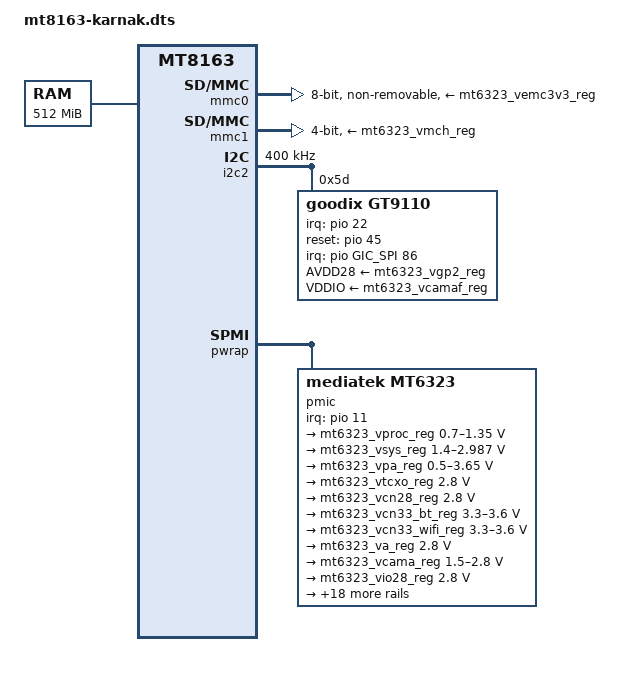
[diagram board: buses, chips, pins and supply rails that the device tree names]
/*
 * Copyright (c) 2014-2015 MediaTek Inc.
 *
 * This program is free software; you can redistribute it and/or modify
 * it under the terms of the GNU General Public License version 2 as
 * published by the Free Software Foundation.
 *
 * This program is distributed in the hope that it will be useful,
 * MERCHANTABILITY or FITNESS FOR A PARTICULAR PURPOSE.  See the
 * GNU General Public License for more details.
 */

/dts-v1/;

#include "mt8163.dtsi"
#include <dt-bindings/gpio/gpio.h>

/ {
	version = "dvt";
	memory@00000000 {
		device_type = "memory";
		reg = <0 0x40000000 0 0x20000000>;
	};
	chosen {
      #address-cells = <2>;
      #size-cells = <2>;
	  ranges;
      stdout-path = "display0";
      framebuffer0: framebuffer@0x98800000 {
        compatible = "simple-framebuffer";
        reg = <0x0 0x98800000 0x0 0xe00000>;
        width = <800>;
        height = <1280>;
        stride = <3200>;
        format = "a8b8g8r8";
		status = "okay";
		};

};
//Needed to make bootloader happy.
};
&mmc0 {
	pinctrl-names = "default", "state_uhs";
	pinctrl-0 = <&mmc0_pins_default>;
	pinctrl-1 = <&mmc0_pins_uhs>;
	status = "okay";
	bus-width = <8>;
	max-frequency = <200000000>;
	cap-mmc-highspeed;
    cap-mmc-hw-reset;
	mmc-hs200-1_8v;
	vmmc-supply = <&mt6323_vemc3v3_reg>;
	vqmmc-supply = <&mt6323_vio18_reg>;
	non-removable;
};
&mmc1 {
	pinctrl-names = "default", "state_uhs";
	pinctrl-0 = <&mmc1_pins_default>;
	pinctrl-1 = <&mmc1_pins_uhs>;
	status = "okay";
	bus-width = <4>;
	latch-ck = <1>;
	max-frequency = <200000000>;
	cap-sd-highspeed;
	sd-uhs-sdr50;
	sd-uhs-sdr104;
	broken-cd;
	vmmc-supply = <&mt6323_vmch_reg>;
	vqmmc-supply = <&mt6323_vmc_reg>;
};
&i2c2 {
	clock-frequency = <400000>;
	pinctrl-names = "default";
	pinctrl-0 = <&i2c2_pins_a>;
	status = "okay";
    gt9110@5d {
        compatible = "goodix,gt9110";
        reg = <0x5d>;
        AVDD28-supply = <&mt6323_vgp2_reg>;
        VDDIO-supply = <&mt6323_vcamaf_reg>;
        interrupt-parent = <&pio>;
        interrupts = <GIC_SPI 86 IRQ_TYPE_LEVEL_LOW>;
        irq-gpios = <&pio 22 0x00>;	
		reset-gpios = <&pio 45 0x00>;	
    };
};
&led6 {
    compatible = "mediatek,lcd-backlight";
    led_mode = <4>;
    data = < >;
    pwm_config = <0 0 0 0 0>;
    default_brightness = < >;
    brightness_normalize_param = < >;
};
&pio{
	disp_pwm0_pins: disp_pwm0_pins {
		pins1 {
			pinmux = <MT8163_PIN_59_DISP_PWM__FUNC_DISP_PWM >;
			output-low;
		};
	};
mmc0_pins_default: mmc0default {
		pins_cmd_dat {
			pinmux = <MT8163_PIN_137_MSDC0_DAT0__FUNC_MSDC0_DAT0>,
				<MT8163_PIN_136_MSDC0_DAT1__FUNC_MSDC0_DAT1>,
				<MT8163_PIN_135_MSDC0_DAT2__FUNC_MSDC0_DAT2>,
				<MT8163_PIN_134_MSDC0_DAT3__FUNC_MSDC0_DAT3>,
				<MT8163_PIN_130_MSDC0_DAT4__FUNC_MSDC0_DAT4>,
				<MT8163_PIN_129_MSDC0_DAT5__FUNC_MSDC0_DAT5>,
				<MT8163_PIN_128_MSDC0_DAT6__FUNC_MSDC0_DAT6>,
				<MT8163_PIN_127_MSDC0_DAT7__FUNC_MSDC0_DAT7>,
				<MT8163_PIN_132_MSDC0_CMD__FUNC_MSDC0_CMD>;
			input-enable;
			bias-pull-up;
		};

		pins_clk {
			pinmux = <MT8163_PIN_133_MSDC0_CLK__FUNC_MSDC0_CLK>;
			bias-pull-down;
		};

		pins_rst {
			pinmux = <MT8163_PIN_131_MSDC0_RSTB__FUNC_MSDC0_RSTB>;
			bias-pull-up;
		};
	};

	mmc0_pins_uhs: mmc0@0{
		pins_cmd_dat {
			pinmux = <MT8163_PIN_137_MSDC0_DAT0__FUNC_MSDC0_DAT0>,
				<MT8163_PIN_136_MSDC0_DAT1__FUNC_MSDC0_DAT1>,
				<MT8163_PIN_135_MSDC0_DAT2__FUNC_MSDC0_DAT2>,
				<MT8163_PIN_134_MSDC0_DAT3__FUNC_MSDC0_DAT3>,
				<MT8163_PIN_130_MSDC0_DAT4__FUNC_MSDC0_DAT4>,
				<MT8163_PIN_129_MSDC0_DAT5__FUNC_MSDC0_DAT5>,
				<MT8163_PIN_128_MSDC0_DAT6__FUNC_MSDC0_DAT6>,
				<MT8163_PIN_127_MSDC0_DAT7__FUNC_MSDC0_DAT7>,
				<MT8163_PIN_132_MSDC0_CMD__FUNC_MSDC0_CMD>;
			input-enable;
			drive-strength = <MTK_DRIVE_6mA>;
			bias-pull-up = <MTK_PUPD_SET_R1R0_01>;
		};

		pins_clk {
			pinmux = <MT8163_PIN_133_MSDC0_CLK__FUNC_MSDC0_CLK>;
			drive-strength = <MTK_DRIVE_6mA>;
			bias-pull-down = <MTK_PUPD_SET_R1R0_01>;
		};

		pins_rst {
			pinmux = <MT8163_PIN_131_MSDC0_RSTB__FUNC_MSDC0_RSTB>;
			bias-pull-up;
		};
	};

	mmc1_pins_default: mmc1default {
		pins_cmd_dat {
			pinmux = <MT8163_PIN_123_MSDC1_DAT0__FUNC_MSDC1_DAT0>,
				<MT8163_PIN_124_MSDC1_DAT1__FUNC_MSDC1_DAT1>,
				<MT8163_PIN_125_MSDC1_DAT2__FUNC_MSDC1_DAT2>,
				<MT8163_PIN_126_MSDC1_DAT3__FUNC_MSDC1_DAT3>,
				<MT8163_PIN_121_MSDC1_CMD__FUNC_MSDC1_CMD>;
			input-enable;
			drive-strength = <MTK_DRIVE_6mA>;
			bias-pull-up = <MTK_PUPD_SET_R1R0_01>;
		};

		pins_clk {
			pinmux = <MT8163_PIN_122_MSDC1_CLK__FUNC_MSDC1_CLK>;
			drive-strength = <MTK_DRIVE_6mA>;
			bias-pull-down = <MTK_PUPD_SET_R1R0_10>;
		};

		pins_insert {
			pinmux = <MT8163_PIN_52_EINT20__FUNC_GPIO52>;
			bias-pull-up;
		};
	};

	mmc1_pins_uhs: mmc1@0 {
		pins_cmd_dat {
			pinmux = <MT8163_PIN_123_MSDC1_DAT0__FUNC_MSDC1_DAT0>,
				<MT8163_PIN_124_MSDC1_DAT1__FUNC_MSDC1_DAT1>,
				<MT8163_PIN_125_MSDC1_DAT2__FUNC_MSDC1_DAT2>,
				<MT8163_PIN_126_MSDC1_DAT3__FUNC_MSDC1_DAT3>,
				<MT8163_PIN_121_MSDC1_CMD__FUNC_MSDC1_CMD>;
			input-enable;
			drive-strength = <MTK_DRIVE_8mA>;
			bias-pull-up = <MTK_PUPD_SET_R1R0_10>;
		};

		pins_clk {
			pinmux = <MT8163_PIN_122_MSDC1_CLK__FUNC_MSDC1_CLK>;
			drive-strength = <MTK_DRIVE_8mA>;
			bias-pull-down = <MTK_PUPD_SET_R1R0_10>;
		};
	};
    i2c2_pins_a: i2c2@0 {
		pins1 {
			pinmux = <MT8163_PIN_77_SDA2__FUNC_SDA2_0>,
				 <MT8163_PIN_78_SCL2__FUNC_SCL2_0>;
			bias-disable;
		};
	};
};


&pwrap {
	pmic: mt6323 {
		compatible = "mediatek,mt6323";
		interrupt-parent = <&pio>;
		interrupts = <11 IRQ_TYPE_LEVEL_HIGH>;
		interrupt-controller;
		#interrupt-cells = <2>;
	
        mt6323regulator: regulators {

			compatible = "mediatek,mt6323-regulator";

			mt6323_vproc_reg: buck_vproc { //1
				regulator-name = "vproc";
				regulator-min-microvolt = < 700000>;
				regulator-max-microvolt = <1350000>;
				regulator-ramp-delay = <12500>;
				regulator-always-on;
				regulator-boot-on;
			};

			mt6323_vsys_reg: buck_vsys { //2
				regulator-name = "vsys";
				regulator-min-microvolt = <1400000>;
				regulator-max-microvolt = <2987500>;
				regulator-ramp-delay = <25000>;
				regulator-always-on;
				regulator-boot-on;
			};

			mt6323_vpa_reg: buck_vpa {//3
				regulator-name = "vpa";
				regulator-min-microvolt = < 500000>;
				regulator-max-microvolt = <3650000>;
			};

			mt6323_vtcxo_reg: ldo_vtcxo {//4
				regulator-name = "vtcxo";
				regulator-min-microvolt = <2800000>;
				regulator-max-microvolt = <2800000>;
				regulator-enable-ramp-delay = <90>;
				regulator-always-on;
				regulator-boot-on;
			};

			mt6323_vcn28_reg: ldo_vcn28 {//5
				regulator-name = "vcn28";
				regulator-min-microvolt = <2800000>;
				regulator-max-microvolt = <2800000>;
				regulator-enable-ramp-delay = <185>;
			};

			mt6323_vcn33_bt_reg: ldo_vcn33_bt {//6
				regulator-name = "vcn33_bt";
				regulator-min-microvolt = <3300000>;
				regulator-max-microvolt = <3600000>;
				regulator-enable-ramp-delay = <185>;
			};

			mt6323_vcn33_wifi_reg: ldo_vcn33_wifi {//7
				regulator-name = "vcn33_wifi";
				regulator-min-microvolt = <3300000>;
				regulator-max-microvolt = <3600000>;
				regulator-enable-ramp-delay = <185>;
			};

			mt6323_va_reg: ldo_va {//8
				regulator-name = "va";
				regulator-min-microvolt = <2800000>;
				regulator-max-microvolt = <2800000>;
				regulator-enable-ramp-delay = <216>;
				regulator-always-on;
				regulator-boot-on;
			};

			mt6323_vcama_reg: ldo_vcama {//9
				regulator-name = "vcama";
				regulator-min-microvolt = <1500000>;
				regulator-max-microvolt = <2800000>;
				regulator-enable-ramp-delay = <216>;
			};

			mt6323_vio28_reg: ldo_vio28 {//10
				regulator-name = "vio28";
				regulator-min-microvolt = <2800000>;
				regulator-max-microvolt = <2800000>;
				regulator-enable-ramp-delay = <216>;
				regulator-always-on;
				regulator-boot-on;
			};

			mt6323_vusb_reg: ldo_vusb {//11
				regulator-name = "vusb";
				regulator-min-microvolt = <3300000>;
				regulator-max-microvolt = <3300000>;
				regulator-enable-ramp-delay = <216>;
				regulator-boot-on;
			};

			mt6323_vmc_reg: ldo_vmc {//12
				regulator-name = "vmc";
				regulator-min-microvolt = <1800000>;
				regulator-max-microvolt = <3300000>;
				regulator-enable-ramp-delay = <36>;
				regulator-boot-on;
			};

			mt6323_vmch_reg: ldo_vmch {//13
				regulator-name = "vmch";
				regulator-min-microvolt = <3000000>;
				regulator-max-microvolt = <3300000>;
				regulator-enable-ramp-delay = <36>;
				regulator-boot-on;
			};

			mt6323_vemc3v3_reg: ldo_vemc3v3{//14
				regulator-name = "vemc3v3";
				regulator-min-microvolt = <3000000>;
				regulator-max-microvolt = <3300000>;
				regulator-enable-ramp-delay = <36>;
				regulator-boot-on;
            };

			mt6323_vgp1_reg: ldo_vgp1 {//15
				regulator-name = "vgp1";
				regulator-min-microvolt = <1200000>;
				regulator-max-microvolt = <3300000>;
				regulator-enable-ramp-delay = <216>;
			};

			mt6323_vgp2_reg: ldo_vgp2 {//16
				regulator-name = "vgp2";
				regulator-min-microvolt = <1200000>;
				regulator-max-microvolt = <3000000>;
				regulator-enable-ramp-delay = <216>;
			};

			mt6323_vgp3_reg: ldo_vgp3 {//17
				regulator-name = "vgp3";
				regulator-min-microvolt = <1200000>;
				regulator-max-microvolt = <1800000>;
				regulator-enable-ramp-delay = <216>;
			};

			mt6323_vcn18_reg: ldo_vcn18 {//18
				regulator-name = "vcn18";
				regulator-min-microvolt = <1800000>;
				regulator-max-microvolt = <1800000>;
				regulator-enable-ramp-delay = <216>;
			};

			mt6323_vsim1_reg: ldo_vsim1 {//19
				regulator-name = "vsim1";
				regulator-min-microvolt = <1800000>;
				regulator-max-microvolt = <3000000>;
				regulator-enable-ramp-delay = <216>;
			};

			mt6323_vsim2_reg: ldo_vsim2 {//20
				regulator-name = "vsim2";
				regulator-min-microvolt = <1800000>;
				regulator-max-microvolt = <3000000>;
				regulator-enable-ramp-delay = <216>;
			};

			mt6323_vrtc_reg: ldo_vrtc {//21
				regulator-name = "vrtc";
				regulator-min-microvolt = <2800000>;
				regulator-max-microvolt = <2800000>;
				regulator-always-on;
				regulator-boot-on;
			};

			mt6323_vcamaf_reg: ldo_vcamaf {//22
				regulator-name = "vcamaf";
				regulator-min-microvolt = <1200000>;
				regulator-max-microvolt = <3300000>;
				regulator-enable-ramp-delay = <216>;
			};

			mt6323_vibr_reg: ldo_vibr {//23
				regulator-name = "vibr";
				regulator-min-microvolt = <1200000>;
				regulator-max-microvolt = <3300000>;
				regulator-enable-ramp-delay = <36>;
			};

			mt6323_vrf18_reg: ldo_vrf18 {//24
				regulator-name = "vrf18";
				regulator-min-microvolt = <1825000>;
				regulator-max-microvolt = <1825000>;
				regulator-enable-ramp-delay = <187>;
				regulator-boot-on;
			};

			mt6323_vm_reg: ldo_vm {//25
				regulator-name = "vm";
				regulator-min-microvolt = <1200000>;
				regulator-max-microvolt = <1800000>;
				regulator-enable-ramp-delay = <216>;
				regulator-always-on;
				regulator-boot-on;
			};

			mt6323_vio18_reg: ldo_vio18 {//26
				regulator-name = "vio18";
				regulator-min-microvolt = <1800000>;
				regulator-max-microvolt = <1800000>;
				regulator-enable-ramp-delay = <216>;
				regulator-always-on;
				regulator-boot-on;
			};

			mt6323_vcamd_reg: ldo_vcamd {//27
				regulator-name = "vcamd";
				regulator-min-microvolt = <1200000>;
				regulator-max-microvolt = <1800000>;
				regulator-enable-ramp-delay = <216>;
			};

			mt6323_vcamio_reg: ldo_vcamio {
				regulator-name = "vcamio";
				regulator-min-microvolt = <1800000>;
				regulator-max-microvolt = <1800000>;
				regulator-enable-ramp-delay = <216>;
			};
		};
};
};


